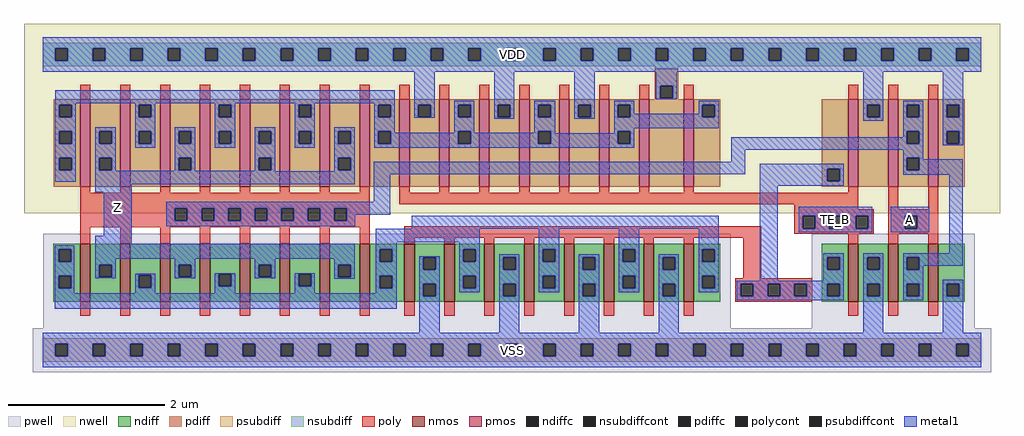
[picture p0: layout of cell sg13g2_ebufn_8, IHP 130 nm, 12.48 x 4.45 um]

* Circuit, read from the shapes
.subckt sg13g2_ebufn_8 VDD VSS Z A TE_B
XM1 Z n1 n2 VSS sg13_lv_nmos w=0.74u l=0.13u m=8
XM2 VSS n3 n2 VSS sg13_lv_nmos w=0.74u l=0.13u m=8
XM3 VSS TE_B n3 VSS sg13_lv_nmos w=0.74u l=0.13u
XM4 n1 A VSS VSS sg13_lv_nmos w=0.74u l=0.13u m=2
XM5 Z n1 n4 VDD sg13_lv_pmos w=1.12u l=0.13u m=8
XM6 VDD TE_B n4 VDD sg13_lv_pmos w=1.12u l=0.13u m=8
XM7 VDD TE_B n3 VDD sg13_lv_pmos w=1.12u l=0.13u
XM8 n1 A VDD VDD sg13_lv_pmos w=1.12u l=0.13u m=2
.ends

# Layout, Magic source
magic
tech ihp-sg13g2
magscale 1 2
<< nwell >>
rect -48 350 2448 834
<< pwell >>
rect 1 56 1759 298
rect 1966 56 2384 298
rect -26 -56 2426 56
<< nmos >>
rect 96 124 122 272
rect 198 124 224 272
rect 300 124 326 272
rect 402 124 428 272
rect 504 124 530 272
rect 606 124 632 272
rect 708 124 734 272
rect 810 124 836 272
rect 925 124 951 272
rect 1027 124 1053 272
rect 1129 124 1155 272
rect 1231 124 1257 272
rect 1333 124 1359 272
rect 1435 124 1461 272
rect 1537 124 1563 272
rect 1639 124 1665 272
rect 2060 124 2086 272
rect 2162 124 2188 272
rect 2264 124 2290 272
<< pmos >>
rect 96 418 122 642
rect 198 418 224 642
rect 300 418 326 642
rect 402 418 428 642
rect 504 418 530 642
rect 606 418 632 642
rect 708 418 734 642
rect 810 418 836 642
rect 912 418 938 642
rect 1014 418 1040 642
rect 1116 418 1142 642
rect 1219 418 1245 642
rect 1321 418 1347 642
rect 1423 418 1449 642
rect 1525 418 1551 642
rect 1639 418 1665 642
rect 2060 418 2086 642
rect 2162 418 2188 642
rect 2264 418 2290 642
<< ndiff >>
rect 27 258 96 272
rect 27 226 41 258
rect 73 226 96 258
rect 27 190 96 226
rect 27 158 41 190
rect 73 158 96 190
rect 27 124 96 158
rect 122 218 198 272
rect 122 186 144 218
rect 176 186 198 218
rect 122 124 198 186
rect 224 192 300 272
rect 224 160 246 192
rect 278 160 300 192
rect 224 124 300 160
rect 326 218 402 272
rect 326 186 348 218
rect 380 186 402 218
rect 326 124 402 186
rect 428 195 504 272
rect 428 163 450 195
rect 482 163 504 195
rect 428 124 504 163
rect 530 218 606 272
rect 530 186 552 218
rect 584 186 606 218
rect 530 124 606 186
rect 632 195 708 272
rect 632 163 654 195
rect 686 163 708 195
rect 632 124 708 163
rect 734 218 810 272
rect 734 186 756 218
rect 788 186 810 218
rect 734 124 810 186
rect 836 258 925 272
rect 836 226 862 258
rect 894 226 925 258
rect 836 190 925 226
rect 836 158 862 190
rect 894 158 925 190
rect 836 124 925 158
rect 951 238 1027 272
rect 951 206 973 238
rect 1005 206 1027 238
rect 951 170 1027 206
rect 951 138 973 170
rect 1005 138 1027 170
rect 951 124 1027 138
rect 1053 258 1129 272
rect 1053 226 1075 258
rect 1107 226 1129 258
rect 1053 190 1129 226
rect 1053 158 1075 190
rect 1107 158 1129 190
rect 1053 124 1129 158
rect 1155 238 1231 272
rect 1155 206 1177 238
rect 1209 206 1231 238
rect 1155 170 1231 206
rect 1155 138 1177 170
rect 1209 138 1231 170
rect 1155 124 1231 138
rect 1257 258 1333 272
rect 1257 226 1279 258
rect 1311 226 1333 258
rect 1257 190 1333 226
rect 1257 158 1279 190
rect 1311 158 1333 190
rect 1257 124 1333 158
rect 1359 238 1435 272
rect 1359 206 1381 238
rect 1413 206 1435 238
rect 1359 170 1435 206
rect 1359 138 1381 170
rect 1413 138 1435 170
rect 1359 124 1435 138
rect 1461 258 1537 272
rect 1461 226 1483 258
rect 1515 226 1537 258
rect 1461 190 1537 226
rect 1461 158 1483 190
rect 1515 158 1537 190
rect 1461 124 1537 158
rect 1563 238 1639 272
rect 1563 206 1585 238
rect 1617 206 1639 238
rect 1563 170 1639 206
rect 1563 138 1585 170
rect 1617 138 1639 170
rect 1563 124 1639 138
rect 1665 258 1733 272
rect 1665 226 1687 258
rect 1719 226 1733 258
rect 1665 190 1733 226
rect 1665 158 1687 190
rect 1719 158 1733 190
rect 1992 238 2060 272
rect 1992 206 2006 238
rect 2038 206 2060 238
rect 1665 124 1733 158
rect 1992 170 2060 206
rect 1992 138 2006 170
rect 2038 138 2060 170
rect 1992 124 2060 138
rect 2086 238 2162 272
rect 2086 206 2108 238
rect 2140 206 2162 238
rect 2086 170 2162 206
rect 2086 138 2108 170
rect 2140 138 2162 170
rect 2086 124 2162 138
rect 2188 238 2264 272
rect 2188 206 2210 238
rect 2242 206 2264 238
rect 2188 170 2264 206
rect 2188 138 2210 170
rect 2242 138 2264 170
rect 2188 124 2264 138
rect 2290 170 2358 272
rect 2290 138 2312 170
rect 2344 138 2358 170
rect 2290 124 2358 138
<< pdiff >>
rect 1565 676 1625 720
rect 1565 644 1579 676
rect 1611 644 1625 676
rect 1565 642 1625 644
rect 28 628 96 642
rect 28 596 42 628
rect 74 596 96 628
rect 28 560 96 596
rect 28 528 42 560
rect 74 528 96 560
rect 28 492 96 528
rect 28 460 42 492
rect 74 460 96 492
rect 28 418 96 460
rect 122 560 198 642
rect 122 528 144 560
rect 176 528 198 560
rect 122 492 198 528
rect 122 460 144 492
rect 176 460 198 492
rect 122 418 198 460
rect 224 628 300 642
rect 224 596 246 628
rect 278 596 300 628
rect 224 560 300 596
rect 224 528 246 560
rect 278 528 300 560
rect 224 418 300 528
rect 326 560 402 642
rect 326 528 348 560
rect 380 528 402 560
rect 326 492 402 528
rect 326 460 348 492
rect 380 460 402 492
rect 326 418 402 460
rect 428 628 504 642
rect 428 596 450 628
rect 482 596 504 628
rect 428 560 504 596
rect 428 528 450 560
rect 482 528 504 560
rect 428 418 504 528
rect 530 560 606 642
rect 530 528 552 560
rect 584 528 606 560
rect 530 492 606 528
rect 530 460 552 492
rect 584 460 606 492
rect 530 418 606 460
rect 632 628 708 642
rect 632 596 654 628
rect 686 596 708 628
rect 632 560 708 596
rect 632 528 654 560
rect 686 528 708 560
rect 632 418 708 528
rect 734 560 810 642
rect 734 528 756 560
rect 788 528 810 560
rect 734 492 810 528
rect 734 460 756 492
rect 788 460 810 492
rect 734 418 810 460
rect 836 628 912 642
rect 836 596 858 628
rect 890 596 912 628
rect 836 560 912 596
rect 836 528 858 560
rect 890 528 912 560
rect 836 418 912 528
rect 938 628 1014 642
rect 938 596 960 628
rect 992 596 1014 628
rect 938 418 1014 596
rect 1040 628 1116 642
rect 1040 596 1062 628
rect 1094 596 1116 628
rect 1040 560 1116 596
rect 1040 528 1062 560
rect 1094 528 1116 560
rect 1040 418 1116 528
rect 1142 628 1219 642
rect 1142 596 1164 628
rect 1196 596 1219 628
rect 1142 418 1219 596
rect 1245 628 1321 642
rect 1245 596 1267 628
rect 1299 596 1321 628
rect 1245 560 1321 596
rect 1245 528 1267 560
rect 1299 528 1321 560
rect 1245 418 1321 528
rect 1347 628 1423 642
rect 1347 596 1369 628
rect 1401 596 1423 628
rect 1347 418 1423 596
rect 1449 628 1525 642
rect 1449 596 1471 628
rect 1503 596 1525 628
rect 1449 560 1525 596
rect 1449 528 1471 560
rect 1503 528 1525 560
rect 1449 418 1525 528
rect 1551 418 1639 642
rect 1665 628 1733 642
rect 1665 596 1687 628
rect 1719 596 1733 628
rect 1665 418 1733 596
rect 1992 464 2060 642
rect 1992 432 2006 464
rect 2038 432 2060 464
rect 1992 418 2060 432
rect 2086 628 2162 642
rect 2086 596 2108 628
rect 2140 596 2162 628
rect 2086 418 2162 596
rect 2188 628 2264 642
rect 2188 596 2210 628
rect 2242 596 2264 628
rect 2188 560 2264 596
rect 2188 528 2210 560
rect 2242 528 2264 560
rect 2188 492 2264 528
rect 2188 460 2210 492
rect 2242 460 2264 492
rect 2188 418 2264 460
rect 2290 628 2358 642
rect 2290 596 2312 628
rect 2344 596 2358 628
rect 2290 560 2358 596
rect 2290 528 2312 560
rect 2344 528 2358 560
rect 2290 418 2358 528
<< ndiffc >>
rect 41 226 73 258
rect 41 158 73 190
rect 144 186 176 218
rect 246 160 278 192
rect 348 186 380 218
rect 450 163 482 195
rect 552 186 584 218
rect 654 163 686 195
rect 756 186 788 218
rect 862 226 894 258
rect 862 158 894 190
rect 973 206 1005 238
rect 973 138 1005 170
rect 1075 226 1107 258
rect 1075 158 1107 190
rect 1177 206 1209 238
rect 1177 138 1209 170
rect 1279 226 1311 258
rect 1279 158 1311 190
rect 1381 206 1413 238
rect 1381 138 1413 170
rect 1483 226 1515 258
rect 1483 158 1515 190
rect 1585 206 1617 238
rect 1585 138 1617 170
rect 1687 226 1719 258
rect 1687 158 1719 190
rect 2006 206 2038 238
rect 2006 138 2038 170
rect 2108 206 2140 238
rect 2108 138 2140 170
rect 2210 206 2242 238
rect 2210 138 2242 170
rect 2312 138 2344 170
<< pdiffc >>
rect 1579 644 1611 676
rect 42 596 74 628
rect 42 528 74 560
rect 42 460 74 492
rect 144 528 176 560
rect 144 460 176 492
rect 246 596 278 628
rect 246 528 278 560
rect 348 528 380 560
rect 348 460 380 492
rect 450 596 482 628
rect 450 528 482 560
rect 552 528 584 560
rect 552 460 584 492
rect 654 596 686 628
rect 654 528 686 560
rect 756 528 788 560
rect 756 460 788 492
rect 858 596 890 628
rect 858 528 890 560
rect 960 596 992 628
rect 1062 596 1094 628
rect 1062 528 1094 560
rect 1164 596 1196 628
rect 1267 596 1299 628
rect 1267 528 1299 560
rect 1369 596 1401 628
rect 1471 596 1503 628
rect 1471 528 1503 560
rect 1687 596 1719 628
rect 2006 432 2038 464
rect 2108 596 2140 628
rect 2210 596 2242 628
rect 2210 528 2242 560
rect 2210 460 2242 492
rect 2312 596 2344 628
rect 2312 528 2344 560
<< psubdiff >>
rect 0 16 2400 30
rect 0 -16 32 16
rect 64 -16 128 16
rect 160 -16 224 16
rect 256 -16 320 16
rect 352 -16 416 16
rect 448 -16 512 16
rect 544 -16 608 16
rect 640 -16 704 16
rect 736 -16 800 16
rect 832 -16 896 16
rect 928 -16 992 16
rect 1024 -16 1088 16
rect 1120 -16 1184 16
rect 1216 -16 1280 16
rect 1312 -16 1376 16
rect 1408 -16 1472 16
rect 1504 -16 1568 16
rect 1600 -16 1664 16
rect 1696 -16 1760 16
rect 1792 -16 1856 16
rect 1888 -16 1952 16
rect 1984 -16 2048 16
rect 2080 -16 2144 16
rect 2176 -16 2240 16
rect 2272 -16 2336 16
rect 2368 -16 2400 16
rect 0 -30 2400 -16
<< nsubdiff >>
rect 0 772 2400 786
rect 0 740 32 772
rect 64 740 128 772
rect 160 740 224 772
rect 256 740 320 772
rect 352 740 416 772
rect 448 740 512 772
rect 544 740 608 772
rect 640 740 704 772
rect 736 740 800 772
rect 832 740 896 772
rect 928 740 992 772
rect 1024 740 1088 772
rect 1120 740 1184 772
rect 1216 740 1280 772
rect 1312 740 1376 772
rect 1408 740 1472 772
rect 1504 740 1568 772
rect 1600 740 1664 772
rect 1696 740 1760 772
rect 1792 740 1856 772
rect 1888 740 1952 772
rect 1984 740 2048 772
rect 2080 740 2144 772
rect 2176 740 2240 772
rect 2272 740 2336 772
rect 2368 740 2400 772
rect 0 726 2400 740
rect 1565 720 1625 726
<< psubdiffcont >>
rect 32 -16 64 16
rect 128 -16 160 16
rect 224 -16 256 16
rect 320 -16 352 16
rect 416 -16 448 16
rect 512 -16 544 16
rect 608 -16 640 16
rect 704 -16 736 16
rect 800 -16 832 16
rect 896 -16 928 16
rect 992 -16 1024 16
rect 1088 -16 1120 16
rect 1184 -16 1216 16
rect 1280 -16 1312 16
rect 1376 -16 1408 16
rect 1472 -16 1504 16
rect 1568 -16 1600 16
rect 1664 -16 1696 16
rect 1760 -16 1792 16
rect 1856 -16 1888 16
rect 1952 -16 1984 16
rect 2048 -16 2080 16
rect 2144 -16 2176 16
rect 2240 -16 2272 16
rect 2336 -16 2368 16
<< nsubdiffcont >>
rect 32 740 64 772
rect 128 740 160 772
rect 224 740 256 772
rect 320 740 352 772
rect 416 740 448 772
rect 512 740 544 772
rect 608 740 640 772
rect 704 740 736 772
rect 800 740 832 772
rect 896 740 928 772
rect 992 740 1024 772
rect 1088 740 1120 772
rect 1184 740 1216 772
rect 1280 740 1312 772
rect 1376 740 1408 772
rect 1472 740 1504 772
rect 1568 740 1600 772
rect 1664 740 1696 772
rect 1760 740 1792 772
rect 1856 740 1888 772
rect 1952 740 1984 772
rect 2048 740 2080 772
rect 2144 740 2176 772
rect 2240 740 2272 772
rect 2336 740 2368 772
<< poly >>
rect 96 642 122 678
rect 198 642 224 678
rect 300 642 326 678
rect 402 642 428 678
rect 504 642 530 678
rect 606 642 632 678
rect 708 642 734 678
rect 810 642 836 678
rect 912 642 938 678
rect 1014 642 1040 678
rect 1116 642 1142 678
rect 1219 642 1245 678
rect 1321 642 1347 678
rect 1423 642 1449 678
rect 1525 642 1551 678
rect 1639 642 1665 678
rect 2060 642 2086 678
rect 2162 642 2188 678
rect 2264 642 2290 678
rect 96 403 122 418
rect 198 403 224 418
rect 300 403 326 418
rect 402 403 428 418
rect 504 403 530 418
rect 606 403 632 418
rect 708 403 734 418
rect 810 403 836 418
rect 96 363 836 403
rect 912 403 938 418
rect 1014 403 1040 418
rect 1116 403 1142 418
rect 1219 403 1245 418
rect 1321 403 1347 418
rect 1423 403 1449 418
rect 1525 403 1551 418
rect 1639 403 1665 418
rect 2060 403 2086 418
rect 912 373 2086 403
rect 96 331 338 363
rect 370 331 406 363
rect 438 331 474 363
rect 506 331 542 363
rect 574 331 610 363
rect 642 331 678 363
rect 710 331 746 363
rect 778 331 836 363
rect 96 314 836 331
rect 1922 360 2086 373
rect 2162 360 2188 418
rect 2264 360 2290 418
rect 1922 343 2125 360
rect 96 272 122 314
rect 198 272 224 314
rect 300 272 326 314
rect 402 272 428 314
rect 504 272 530 314
rect 606 272 632 314
rect 708 272 734 314
rect 810 272 836 314
rect 925 287 1838 317
rect 1922 311 1943 343
rect 1975 311 2011 343
rect 2043 311 2079 343
rect 2111 311 2125 343
rect 1922 297 2125 311
rect 2162 343 2290 360
rect 2162 311 2205 343
rect 2237 311 2290 343
rect 2162 297 2290 311
rect 925 272 951 287
rect 1027 272 1053 287
rect 1129 272 1155 287
rect 1231 272 1257 287
rect 1333 272 1359 287
rect 1435 272 1461 287
rect 1537 272 1563 287
rect 1639 272 1665 287
rect 1791 184 1838 287
rect 2060 272 2086 297
rect 2162 272 2188 297
rect 2264 272 2290 297
rect 1771 170 1968 184
rect 1771 138 1785 170
rect 1817 138 1854 170
rect 1886 138 1922 170
rect 1954 138 1968 170
rect 1771 124 1968 138
rect 96 88 122 124
rect 198 88 224 124
rect 300 88 326 124
rect 402 88 428 124
rect 504 88 530 124
rect 606 88 632 124
rect 708 88 734 124
rect 810 88 836 124
rect 925 88 951 124
rect 1027 88 1053 124
rect 1129 88 1155 124
rect 1231 88 1257 124
rect 1333 88 1359 124
rect 1435 88 1461 124
rect 1537 88 1563 124
rect 1639 88 1665 124
rect 2060 88 2086 124
rect 2162 88 2188 124
rect 2264 88 2290 124
<< polycont >>
rect 338 331 370 363
rect 406 331 438 363
rect 474 331 506 363
rect 542 331 574 363
rect 610 331 642 363
rect 678 331 710 363
rect 746 331 778 363
rect 1943 311 1975 343
rect 2011 311 2043 343
rect 2079 311 2111 343
rect 2205 311 2237 343
rect 1785 138 1817 170
rect 1854 138 1886 170
rect 1922 138 1954 170
<< metal1 >>
rect 0 772 2400 800
rect 0 740 32 772
rect 64 740 128 772
rect 160 740 224 772
rect 256 740 320 772
rect 352 740 416 772
rect 448 740 512 772
rect 544 740 608 772
rect 640 740 704 772
rect 736 740 800 772
rect 832 740 896 772
rect 928 740 992 772
rect 1024 740 1088 772
rect 1120 740 1184 772
rect 1216 740 1280 772
rect 1312 740 1376 772
rect 1408 740 1472 772
rect 1504 740 1568 772
rect 1600 740 1664 772
rect 1696 740 1760 772
rect 1792 740 1856 772
rect 1888 740 1952 772
rect 1984 740 2048 772
rect 2080 740 2144 772
rect 2176 740 2240 772
rect 2272 740 2336 772
rect 2368 740 2400 772
rect 0 712 2400 740
rect 32 631 900 665
rect 32 628 84 631
rect 32 596 42 628
rect 74 596 84 628
rect 32 560 84 596
rect 236 628 288 631
rect 236 596 246 628
rect 278 596 288 628
rect 32 528 42 560
rect 74 528 84 560
rect 32 492 84 528
rect 32 460 42 492
rect 74 460 84 492
rect 32 430 84 460
rect 134 560 186 570
rect 134 528 144 560
rect 176 528 186 560
rect 134 492 186 528
rect 236 560 288 596
rect 440 628 492 631
rect 440 596 450 628
rect 482 596 492 628
rect 236 528 246 560
rect 278 528 288 560
rect 236 518 288 528
rect 338 560 390 570
rect 338 528 348 560
rect 380 528 390 560
rect 134 460 144 492
rect 176 460 186 492
rect 134 459 186 460
rect 338 492 390 528
rect 440 560 492 596
rect 644 628 696 631
rect 644 596 654 628
rect 686 596 696 628
rect 440 528 450 560
rect 482 528 492 560
rect 440 518 492 528
rect 542 560 594 570
rect 542 528 552 560
rect 584 528 594 560
rect 338 460 348 492
rect 380 460 390 492
rect 338 459 390 460
rect 542 492 594 528
rect 644 560 696 596
rect 848 628 900 631
rect 848 596 858 628
rect 890 596 900 628
rect 644 528 654 560
rect 686 528 696 560
rect 644 518 696 528
rect 746 560 798 570
rect 746 528 756 560
rect 788 528 798 560
rect 542 460 552 492
rect 584 460 594 492
rect 542 459 594 460
rect 134 458 594 459
rect 746 492 798 528
rect 848 560 900 596
rect 950 628 1002 712
rect 950 596 960 628
rect 992 596 1002 628
rect 950 594 1002 596
rect 1052 628 1104 638
rect 1052 596 1062 628
rect 1094 596 1104 628
rect 848 528 858 560
rect 890 556 900 560
rect 1052 560 1104 596
rect 1154 628 1206 712
rect 1154 596 1164 628
rect 1196 596 1206 628
rect 1154 592 1206 596
rect 1257 628 1310 638
rect 1257 596 1267 628
rect 1299 596 1310 628
rect 1052 556 1062 560
rect 890 528 1062 556
rect 1094 556 1104 560
rect 1257 560 1310 596
rect 1359 628 1411 712
rect 1568 676 1621 712
rect 1568 644 1579 676
rect 1611 644 1621 676
rect 1568 641 1621 644
rect 1359 596 1369 628
rect 1401 596 1411 628
rect 1359 592 1411 596
rect 1461 628 1513 638
rect 1461 596 1471 628
rect 1503 604 1513 628
rect 1677 628 1729 638
rect 1677 604 1687 628
rect 1503 596 1687 604
rect 1719 596 1729 628
rect 1257 556 1267 560
rect 1094 528 1267 556
rect 1299 555 1310 560
rect 1461 568 1729 596
rect 2098 628 2150 712
rect 2098 596 2108 628
rect 2140 596 2150 628
rect 2098 586 2150 596
rect 2200 628 2252 638
rect 2200 596 2210 628
rect 2242 596 2252 628
rect 1461 560 1513 568
rect 1461 555 1471 560
rect 1299 528 1471 555
rect 1503 528 1513 560
rect 2200 560 2252 596
rect 2200 545 2210 560
rect 848 518 1513 528
rect 1761 528 2210 545
rect 2242 528 2252 560
rect 746 460 756 492
rect 788 460 798 492
rect 1761 512 2252 528
rect 2302 628 2354 712
rect 2302 596 2312 628
rect 2344 596 2354 628
rect 2302 560 2354 596
rect 2302 528 2312 560
rect 2344 528 2354 560
rect 2302 524 2354 528
rect 1761 482 1797 512
rect 746 458 798 460
rect 134 424 798 458
rect 847 450 1797 482
rect 2200 492 2252 512
rect 1833 464 2048 476
rect 134 404 228 424
rect 156 293 228 404
rect 847 380 889 450
rect 316 363 889 380
rect 316 331 338 363
rect 370 331 406 363
rect 438 331 474 363
rect 506 331 542 363
rect 574 331 610 363
rect 642 331 678 363
rect 710 331 746 363
rect 778 346 889 363
rect 1833 432 2006 464
rect 2038 432 2048 464
rect 2200 460 2210 492
rect 2242 488 2252 492
rect 2242 460 2353 488
rect 2200 448 2353 460
rect 1833 420 2048 432
rect 778 331 799 346
rect 316 317 799 331
rect 944 310 1729 344
rect 134 272 228 293
rect 852 276 1117 310
rect 30 258 81 268
rect 30 226 41 258
rect 73 226 81 258
rect 30 190 81 226
rect 30 158 41 190
rect 73 158 81 190
rect 134 234 798 272
rect 134 218 186 234
rect 134 186 144 218
rect 176 186 186 218
rect 337 218 390 234
rect 134 184 186 186
rect 236 192 288 195
rect 30 146 81 158
rect 236 160 246 192
rect 278 160 288 192
rect 337 186 348 218
rect 380 186 390 218
rect 542 218 594 234
rect 337 184 390 186
rect 440 195 492 197
rect 236 146 288 160
rect 440 163 450 195
rect 482 163 492 195
rect 542 186 552 218
rect 584 186 594 218
rect 746 218 798 234
rect 542 184 594 186
rect 644 195 696 197
rect 440 146 492 163
rect 644 163 654 195
rect 686 163 696 195
rect 746 186 756 218
rect 788 186 798 218
rect 746 183 798 186
rect 852 258 905 276
rect 852 226 862 258
rect 894 226 905 258
rect 1065 258 1117 276
rect 852 190 905 226
rect 644 146 696 163
rect 852 158 862 190
rect 894 158 905 190
rect 852 146 905 158
rect 30 106 905 146
rect 963 238 1015 240
rect 963 206 973 238
rect 1005 206 1015 238
rect 963 170 1015 206
rect 963 138 973 170
rect 1005 138 1015 170
rect 1065 226 1075 258
rect 1107 226 1117 258
rect 1269 258 1321 310
rect 1065 190 1117 226
rect 1065 158 1075 190
rect 1107 158 1117 190
rect 1065 148 1117 158
rect 1167 238 1219 245
rect 1167 206 1177 238
rect 1209 206 1219 238
rect 1167 170 1219 206
rect 963 44 1015 138
rect 1167 138 1177 170
rect 1209 138 1219 170
rect 1269 226 1279 258
rect 1311 226 1321 258
rect 1473 258 1525 310
rect 1269 190 1321 226
rect 1269 158 1279 190
rect 1311 158 1321 190
rect 1269 148 1321 158
rect 1371 238 1423 245
rect 1371 206 1381 238
rect 1413 206 1423 238
rect 1371 170 1423 206
rect 1167 44 1219 138
rect 1371 138 1381 170
rect 1413 138 1423 170
rect 1473 226 1483 258
rect 1515 226 1525 258
rect 1677 258 1729 310
rect 1473 190 1525 226
rect 1473 158 1483 190
rect 1515 158 1525 190
rect 1473 148 1525 158
rect 1575 238 1627 245
rect 1575 206 1585 238
rect 1617 206 1627 238
rect 1575 170 1627 206
rect 1371 44 1423 138
rect 1575 138 1585 170
rect 1617 138 1627 170
rect 1677 226 1687 258
rect 1719 226 1729 258
rect 1677 190 1729 226
rect 1677 158 1687 190
rect 1719 158 1729 190
rect 1833 177 1880 420
rect 1933 343 2121 367
rect 1933 311 1943 343
rect 1975 311 2011 343
rect 2043 311 2079 343
rect 2111 311 2121 343
rect 1933 302 2121 311
rect 2168 343 2267 367
rect 2168 311 2205 343
rect 2237 311 2267 343
rect 2168 302 2267 311
rect 2318 248 2353 448
rect 1996 238 2048 248
rect 1996 206 2006 238
rect 2038 206 2048 238
rect 1996 177 2048 206
rect 1677 148 1729 158
rect 1775 170 2048 177
rect 1575 44 1627 138
rect 1775 138 1785 170
rect 1817 138 1854 170
rect 1886 138 1922 170
rect 1954 138 2006 170
rect 2038 138 2048 170
rect 1775 128 2048 138
rect 2098 238 2150 248
rect 2098 206 2108 238
rect 2140 206 2150 238
rect 2098 170 2150 206
rect 2098 138 2108 170
rect 2140 138 2150 170
rect 2098 44 2150 138
rect 2200 238 2353 248
rect 2200 206 2210 238
rect 2242 216 2353 238
rect 2242 206 2252 216
rect 2200 170 2252 206
rect 2200 138 2210 170
rect 2242 138 2252 170
rect 2200 128 2252 138
rect 2302 170 2354 180
rect 2302 138 2312 170
rect 2344 138 2354 170
rect 2302 44 2354 138
rect 0 16 2400 44
rect 0 -16 32 16
rect 64 -16 128 16
rect 160 -16 224 16
rect 256 -16 320 16
rect 352 -16 416 16
rect 448 -16 512 16
rect 544 -16 608 16
rect 640 -16 704 16
rect 736 -16 800 16
rect 832 -16 896 16
rect 928 -16 992 16
rect 1024 -16 1088 16
rect 1120 -16 1184 16
rect 1216 -16 1280 16
rect 1312 -16 1376 16
rect 1408 -16 1472 16
rect 1504 -16 1568 16
rect 1600 -16 1664 16
rect 1696 -16 1760 16
rect 1792 -16 1856 16
rect 1888 -16 1952 16
rect 1984 -16 2048 16
rect 2080 -16 2144 16
rect 2176 -16 2240 16
rect 2272 -16 2336 16
rect 2368 -16 2400 16
rect 0 -44 2400 -16
<< labels >>
flabel metal1 s 0 712 2400 800 0 FreeSans 400 0 0 0 VDD
port 2 nsew
flabel metal1 s 0 -44 2400 44 0 FreeSans 400 0 0 0 VSS
port 3 nsew
flabel metal1 s 156 272 228 459 0 FreeSans 400 0 0 0 Z
port 4 nsew
flabel metal1 s 2168 302 2267 367 0 FreeSans 400 0 0 0 A
port 5 nsew
flabel metal1 s 1933 302 2121 367 0 FreeSans 400 0 0 0 TE_B
port 6 nsew
<< properties >>
string FIXED_BBOX 0 0 2400 756
<< end >>
